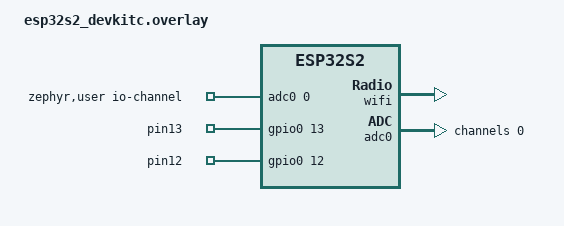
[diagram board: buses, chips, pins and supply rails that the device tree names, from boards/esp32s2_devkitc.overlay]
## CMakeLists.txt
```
cmake_minimum_required(VERSION 3.20.0)

find_package(Zephyr REQUIRED HINTS $ENV{ZEPHYR_BASE})
project(mqtt_backbone)



# Add include directories
target_include_directories(app PRIVATE
    ${CMAKE_CURRENT_SOURCE_DIR}/src
    ${CMAKE_CURRENT_SOURCE_DIR}/src/mqtt_client
)


FILE(
    GLOB 
    app_sources 
        src/*.c 
        src/mqtt_client/*.c
)

target_sources(app PRIVATE ${app_sources})
```

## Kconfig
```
config MQTT_BROKER_IP
	string "MQTT Broker IP address"
	default ""
	help
	  IP address of the MQTT broker to connect to.


config MQTT_BROKER_PORT
	int "MQTT Broker port number"
	default 1883
	help
	  Port number of the MQTT broker.

config MQTT_BROKER_USERNAME
	string "MQTT Broker Username"
	default ""
	help
	  Username for MQTT broker authentication.

config MQTT_BROKER_PASSWORD
	string "MQTT Broker Password"
	default ""
	help
	  Password for MQTT broker authentication.

config MQTT_CLIENT_ID
	string "Client ID"
	default "zephyr_mqtt_client"
	help
	  Client ID used when connecting to the MQTT broker.

config WIFI_SSID
	string "WiFi SSID"
	default ""
	help
	  SSID of the WiFi network to connect to.

config WIFI_PSK
	string "WiFi Password"
	default ""
	help
	  Password for the WiFi network.

config MQTT_CONN_TIMEOUT_MS
	int "MQTT Connection Timeout (ms)"
	default 5000
	help
	  Timeout for MQTT connection establishment in milliseconds.

config MQTT_PUB_ACK_TIMEOUT_MS
	int "MQTT Publish ACK Timeout (ms)"
	default 5000
	help
	  Timeout for MQTT publish acknowledgment in milliseconds.

config MQTT_TX_BUFFER_SIZE
	int "MQTT TX Buffer Size"
	default 256
	help
	  Size of the MQTT transmit buffer.

config MQTT_RX_BUFFER_SIZE
	int "MQTT RX Buffer Size"
	default 256
	help
	  Size of the MQTT receive buffer.

source "Kconfig.zephyr"
```

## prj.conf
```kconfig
# Remove color codes in log output
CONFIG_LOG_MODE_MINIMAL=y

# Increase stack memory to avoid crashes
CONFIG_MAIN_STACK_SIZE=16384

# Enable WiFi
CONFIG_WIFI=y

# Networking config
CONFIG_NETWORKING=y
CONFIG_NET_IPV4=y
CONFIG_NET_IPV6=y
CONFIG_NET_TCP=y
CONFIG_NET_SOCKETS=y

# Get IPv4 address from DHCP
CONFIG_NET_DHCPV4=y

# Enable DNS resolver
CONFIG_DNS_RESOLVER=y

# Enable Ethernet (required for WiFi)
CONFIG_NET_L2_ETHERNET=y

# MQTT
CONFIG_MQTT_LIB=y
CONFIG_MQTT_VERSION_5_0=y

# Floating point print support
CONFIG_CBPRINTF_FP_SUPPORT=y


# CUSTOM Kconfig conf

CONFIG_MQTT_BROKER_IP="192.168.18.85"

CONFIG_MQTT_BROKER_PORT=1883

CONFIG_MQTT_CLIENT_ID="client_1"

CONFIG_WIFI_SSID="MagicBE97"

CONFIG_WIFI_PSK="HWTC34AF299D"
```

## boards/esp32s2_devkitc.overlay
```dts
/{
    zephyr,user {
        io-channels = <&adc0 0>;
    };
    aliases {
        indicator-led = &pin13;
        connected-led = &pin12;
    };
    pins {
        compatible = "gpio-leds";
        pin13: d13 {
            gpios = <&gpio0 13 GPIO_ACTIVE_HIGH>;
        };
        pin12: d12 {
            gpios = <&gpio0 12 GPIO_ACTIVE_HIGH>;
        };
    };

};
&wifi {
    status = "okay";
};

&adc0 {
	status = "okay";
	#address-cells = <1>;
	#size-cells = <0>;

	channel@0 {
		reg = <0>;
		zephyr,gain = "ADC_GAIN_1_4";
		zephyr,reference = "ADC_REF_INTERNAL";
		zephyr,acquisition-time = <ADC_ACQ_TIME_DEFAULT>;
		zephyr,resolution = <12>;
	};
};
```

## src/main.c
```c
#include <stdio.h>
#include <string.h>
#include <zephyr/kernel.h>
#include <zephyr/net/socket.h>
#include <zephyr/net/mqtt.h>
#include <arpa/inet.h>


#include <zephyr/devicetree.h>
#include <zephyr/drivers/adc.h>

#include "wifi.h"
#include "mqtt.h"
#include "led.h"
#include "mqtt_pub_cb.h"

// WiFi settings
#define WIFI_SSID               CONFIG_WIFI_SSID
#define WIFI_PSK                CONFIG_WIFI_PSK

#define MQTT_BROKER_IP          CONFIG_MQTT_BROKER_IP
#define MQTT_BROKER_PORT        CONFIG_MQTT_BROKER_PORT
#define WIFI_MAX_CONN_ATEMPTS   6 


const char* topic_arr[] = {"commands/b1"};
const uint16_t topics_len = ARRAY_SIZE(topic_arr);


K_THREAD_STACK_DEFINE(network_thread_stack, 2048);
struct k_thread network_thread;

void network_thread_func(void *arg1, void *arg2, void *arg3){

    int ret;
    // Initialize WiFi
    wifi_init();

    // Connect to the WiFi network (blocking)
    while(wifi_connect(WIFI_SSID, WIFI_PSK)){
        printk("%s Failed to connect... trying again\n",__func__);
        k_sleep(K_SECONDS(5));
    }

    // Wait to receive an IP address (blocking)
    wifi_wait_for_ip_addr();

    ret = mqtt_connect_to_broker(MQTT_BROKER_IP, MQTT_BROKER_PORT, NULL, NULL);
    if (ret != 0) {
        printk("%s MQTT failed: %d\n",__func__, ret);
        return;
    }


    ret = mqtt_subscribe_to_topic(topic_arr, topics_len);
    if(ret){
        printk("%s Failed to subscribe to a topic", __func__);
        return;
    }

    mqtt_loop();


}




int main(void)
{


    k_thread_create(&network_thread, network_thread_stack,
                   K_THREAD_STACK_SIZEOF(network_thread_stack),
                   network_thread_func,
                   NULL, NULL, NULL,
                   K_PRIO_COOP(7), 0, K_NO_WAIT);




    // Main thread is now free to process work items
    while (1) {
        k_sleep(K_FOREVER);
    }
    printk("end\n");

    return 0;

}   
```

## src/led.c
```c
#include <zephyr/kernel.h>
#include <zephyr/drivers/gpio.h>



static const struct gpio_dt_spec indicator_led = GPIO_DT_SPEC_GET(DT_ALIAS(indicator_led), gpios);

static const struct gpio_dt_spec connected_led = GPIO_DT_SPEC_GET(DT_ALIAS(connected_led), gpios);


int init_indicator_led(){

    int err;
    
    if(!gpio_is_ready_dt(&indicator_led)){
        printk("%s indicator_led is not ready\n",__func__);
    }

    err = gpio_pin_configure_dt(&indicator_led, GPIO_OUTPUT);
    if(err < 0){
        printk("%s indicator_led failed to configure (err %d)\n",__func__, err);
        return err;
    }

    err = gpio_pin_set_dt(&indicator_led,0);
    if(err < 0){
        printk("%s indicator_led failed to set pin (err %d)\n",__func__, err);
        return err;
    }


    if(!gpio_is_ready_dt(&connected_led)){
        printk("%s indicator_led is not ready\n",__func__);
    }

    err = gpio_pin_configure_dt(&connected_led, GPIO_OUTPUT);
    if(err < 0){
        printk("%s indicator_led failed to configure (err %d)\n",__func__, err);
        return err;
    }

    err = gpio_pin_set_dt(&connected_led,0);
    if(err < 0){
        printk("%s indicator_led failed to set pin (err %d)\n",__func__, err);
        return err;
    }


    return 0;
}


void indicator_led_set_state(int new_state){

    int err = gpio_pin_set_dt(&indicator_led,new_state);
    if(err < 0){
        printk("%s indicator_led failed to set pin (err %d)\n",__func__, err);
    }

}



void connected_led_set_state(int new_state){

    int err = gpio_pin_set_dt(&connected_led,new_state);
    if(err < 0){
        printk("%s indicator_led failed to set pin (err %d)\n",__func__, err);
    }

}
```

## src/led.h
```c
#ifndef INDICATO_LED_H
#define INDICATO_LED_H


int init_indicator_led();


void indicator_led_set_state(int new_state);

void connected_led_set_state(int new_state);


#endif //INDICATO_LED_H
```

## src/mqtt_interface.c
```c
#include <stdio.h>
#include <string.h>
#include <zephyr/kernel.h>
#include <zephyr/net/socket.h>
#include <zephyr/net/mqtt.h>
#include <arpa/inet.h>

#include "mqtt_interface.h"



void process_received_message(char *t, char *m){

    printk("t : %s, m : %s", t, m);

}
```

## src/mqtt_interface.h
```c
#ifndef _MQTT_INT_H
#define _MQTT_INT_H

void process_received_message(char *t, char *m);

#endif /*_MQTT_INT_H*/
```

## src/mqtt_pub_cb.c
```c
#include <stdio.h>
#include <string.h>
#include <zephyr/kernel.h>
#include <zephyr/net/socket.h>
#include <zephyr/net/mqtt.h>
#include <arpa/inet.h>

#include "mqtt_pub_cb.h"



void process_received_message(char *t, char *m){

    printk("t : %s, m : %s", t, m);

}
```
